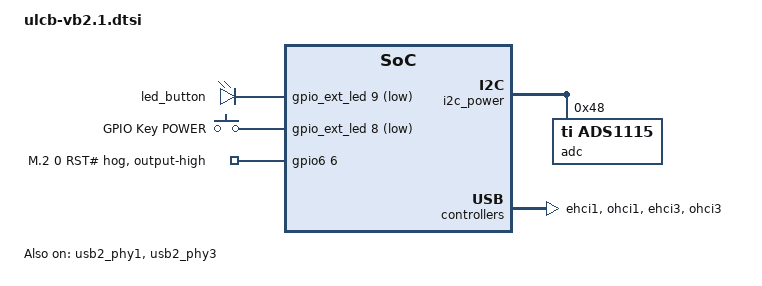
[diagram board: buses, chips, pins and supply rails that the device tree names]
/*
 * Device Tree Source for the ULCB Videobox V2.1 board
 *
 * Copyright (C) 2019 Cogent Embedded, Inc.
 *
 * This file is licensed under the terms of the GNU General Public License
 * version 2.  This program is licensed "as is" without any warranty of any
 * kind, whether express or implied.
 */

#include "ulcb-vb2.dtsi"

/{
	leds {
		led_button {
			gpios = <&gpio_ext_led 9 GPIO_ACTIVE_LOW>;
			linux,default-trigger = "cpu";
		};
	};

	gpio_keys_polled {
		compatible = "gpio-keys-polled";
		poll-interval = <100>;
		autorepeat;

		button_pwr {
			label = "GPIO Key POWER";
			linux,code = <116>;
			gpios = <&gpio_ext_led 8 GPIO_ACTIVE_LOW>;
		};
	};
};

&i2c_power {
	adc@48 {
		reg = <0x48>;
		compatible = "ti,ads1115";
		#address-cells = <1>;
		#size-cells = <0>;
		wake7_voltage: channel@4 {
			/* single endded AIN0 */
			reg = <4>;
		};
		wake8_voltage: channel@5 {
			/* single endded AIN1 */
			reg = <5>;
		};
		dc_prot_voltage: channel@6 {
			/* single endded AIN2 */
			reg = <6>;
		};
		dcdc_voltage: channel@7 {
			/* single endded AIN3 */
			reg = <7>;
		};
	};
};

&gpio6 {
	/delete-node/m2_0_rst;

	m2_0_rst {
		gpio-hog;
		gpios = <6 GPIO_ACTIVE_HIGH>;
		output-high;
		line-name = "M.2 0 RST#";
	};
};

&pfc {
	usb1_pins: usb1 {
		groups = "usb1";
		function = "usb1";
	};

	usb3_pins: usb3 {
		groups = "usb2_ch3";
		function = "usb2_ch3";
	};
};

&usb2_phy1 {
	pinctrl-0 = <&usb1_pins>;
	pinctrl-names = "default";

	status = "okay";
};

&usb2_phy3 {
	pinctrl-0 = <&usb3_pins>;
	pinctrl-names = "default";

	status = "okay";
};

&ehci1 {
	status = "okay";
};

&ohci1 {
	status = "okay";
};

&ehci3 {
	status = "okay";
};

&ohci3 {
	status = "okay";
};
